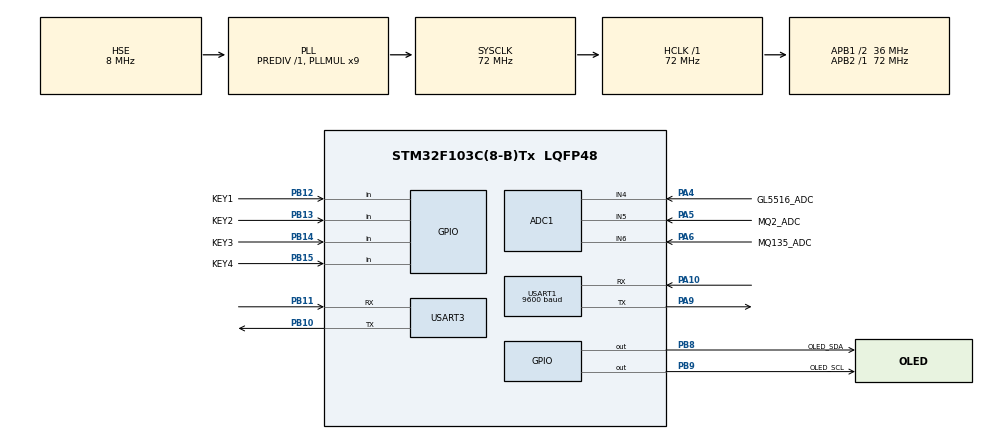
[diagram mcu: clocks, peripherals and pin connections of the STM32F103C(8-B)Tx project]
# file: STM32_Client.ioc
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ADC1.Channel-0\#ChannelRegularConversion=ADC_CHANNEL_4
ADC1.Rank-0\#ChannelRegularConversion=1
ADC1.SamplingTime-0\#ChannelRegularConversion=ADC_SAMPLETIME_1CYCLE_5
ADC1.master=1
Dma.Request0=USART3_TX
Dma.Request1=USART1_TX
Dma.USART1_TX.1.Direction=DMA_MEMORY_TO_PERIPH
Dma.USART1_TX.1.Instance=DMA1_Channel4
Dma.USART1_TX.1.MemDataAlignment=DMA_MDATAALIGN_BYTE
Dma.USART1_TX.1.MemInc=DMA_MINC_ENABLE
Dma.USART1_TX.1.Mode=DMA_NORMAL
Dma.USART1_TX.1.PeriphDataAlignment=DMA_PDATAALIGN_BYTE
Dma.USART1_TX.1.PeriphInc=DMA_PINC_DISABLE
Dma.USART1_TX.1.Priority=DMA_PRIORITY_LOW
Dma.USART3_TX.0.Direction=DMA_MEMORY_TO_PERIPH
Dma.USART3_TX.0.Instance=DMA1_Channel2
Dma.USART3_TX.0.MemDataAlignment=DMA_MDATAALIGN_BYTE
Dma.USART3_TX.0.MemInc=DMA_MINC_ENABLE
Dma.USART3_TX.0.Mode=DMA_NORMAL
Dma.USART3_TX.0.PeriphDataAlignment=DMA_PDATAALIGN_BYTE
Dma.USART3_TX.0.PeriphInc=DMA_PINC_DISABLE
Dma.USART3_TX.0.Priority=DMA_PRIORITY_LOW
Mcu.Family=STM32F1
Mcu.Name=STM32F103C(8-B)Tx
Mcu.Package=LQFP48
NVIC.DMA1_Channel2_IRQn=true\:0\:0\:false\:false\:true\:false\:true\:true
NVIC.DMA1_Channel4_IRQn=true\:0\:0\:false\:false\:true\:false\:true\:true
NVIC.PriorityGroup=NVIC_PRIORITYGROUP_4
NVIC.TIM2_IRQn=true\:0\:0\:false\:false\:true\:true\:true\:true
NVIC.TIM4_IRQn=true\:0\:0\:false\:false\:true\:true\:true\:true
NVIC.USART1_IRQn=true\:0\:0\:false\:false\:true\:true\:true\:true
NVIC.USART3_IRQn=true\:0\:0\:false\:false\:true\:true\:true\:true
PA10.Mode=Asynchronous
PA10.Signal=USART1_RX
PA13.Mode=Serial_Wire
PA13.Signal=SYS_JTMS-SWDIO
PA14.Mode=Serial_Wire
PA14.Signal=SYS_JTCK-SWCLK
PA4.GPIO_Label=GL5516_ADC
PA4.Signal=ADCx_IN4
PA5.GPIO_Label=MQ2_ADC
PA5.Signal=ADCx_IN5
PA6.GPIO_Label=MQ135_ADC
PA6.Signal=ADCx_IN6
PA9.Mode=Asynchronous
PA9.Signal=USART1_TX
PB10.Mode=Asynchronous
PB10.Signal=USART3_TX
PB11.Mode=Asynchronous
PB11.Signal=USART3_RX
PB12.GPIO_Label=KEY1
PB12.GPIO_PuPd=GPIO_PULLUP
PB12.Signal=GPIO_Input
PB13.GPIO_Label=KEY2
PB13.GPIO_PuPd=GPIO_PULLUP
PB13.Signal=GPIO_Input
PB14.GPIO_Label=KEY3
PB14.GPIO_PuPd=GPIO_PULLUP
PB14.Signal=GPIO_Input
PB15.GPIO_Label=KEY4
PB15.GPIO_PuPd=GPIO_PULLUP
PB15.Signal=GPIO_Input
PB8.GPIO_Label=OLED_SDA
PB8.GPIO_ModeDefaultOutputPP=GPIO_MODE_OUTPUT_OD
PB8.GPIO_PuPd=GPIO_NOPULL
PB8.GPIO_Speed=GPIO_SPEED_FREQ_HIGH
PB8.PinState=GPIO_PIN_SET
PB8.Signal=GPIO_Output
PB9.GPIO_Label=OLED_SCL
PB9.GPIO_ModeDefaultOutputPP=GPIO_MODE_OUTPUT_OD
PB9.GPIO_PuPd=GPIO_NOPULL
PB9.GPIO_Speed=GPIO_SPEED_FREQ_HIGH
PB9.PinState=GPIO_PIN_SET
PB9.Signal=GPIO_Output
PD0-OSC_IN.Mode=HSE-External-Oscillator
PD0-OSC_IN.Signal=RCC_OSC_IN
PD1-OSC_OUT.Mode=HSE-External-Oscillator
PD1-OSC_OUT.Signal=RCC_OSC_OUT
ProjectManager.HeapSize=0x200
ProjectManager.StackSize=0x400
ProjectManager.TargetToolchain=MDK-ARM V5
RCC.ADCPresc=RCC_ADCPCLK2_DIV6
RCC.AHBFreq_Value=72000000
RCC.APB1CLKDivider=RCC_HCLK_DIV2
RCC.APB1Freq_Value=36000000
RCC.APB1TimFreq_Value=72000000
RCC.APB2Freq_Value=72000000
RCC.APB2TimFreq_Value=72000000
RCC.HCLKFreq_Value=72000000
RCC.PLLMUL=RCC_PLL_MUL9
RCC.PLLSourceVirtual=RCC_PLLSOURCE_HSE
RCC.SYSCLKFreq_VALUE=72000000
RCC.SYSCLKSource=RCC_SYSCLKSOURCE_PLLCLK
RCC.USBFreq_Value=72000000
SH.ADCx_IN4.0=ADC1_IN4,IN4
SH.ADCx_IN5.0=ADC1_IN5,IN5
SH.ADCx_IN6.0=ADC1_IN6,IN6
TIM2.Period=10000-1
TIM2.Prescaler=7200-1
TIM2.TIM_MasterOutputTrigger=TIM_TRGO_UPDATE
TIM4.Period=50-1
TIM4.Prescaler=275
USART1.BaudRate=9600
USART1.VirtualMode=VM_ASYNC
USART3.VirtualMode=VM_ASYNC
VP_TIM2_VS_ClockSourceINT.Mode=Internal
VP_TIM4_VS_ClockSourceINT.Mode=Internal
board=custom

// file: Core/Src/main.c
/* USER CODE BEGIN Header */
/**
  ******************************************************************************
  * @file           : main.c
  * @brief          : Main program body
  ******************************************************************************
  * @attention
  *
  * Copyright (c) 2025 STMicroelectronics.
  * All rights reserved.
  *
  * This software is licensed under terms that can be found in the LICENSE file
  * in the root directory of this software component.
  * If no LICENSE file comes with this software, it is provided AS-IS.
  *
  ******************************************************************************
  */
/* USER CODE END Header */
#include "main.h"
#include "adc.h"
#include "dma.h"
#include "tim.h"
#include "usart.h"
#include "gpio.h"

/* USER CODE BEGIN Includes */
#include "stdio.h"
#include "OLED_NEW.H"
#include "key.h"
#include "string.h"
#include "key.h"
MODBUS modbus;
/* USER CODE END Includes */

/* USER CODE BEGIN PTD */
uint16_t Temp;       //温度   数值
uint16_t Hum;        //湿度
uint16_t gz_value;        //光强
uint16_t MQ2_value;       //烟雾
uint16_t MQ135_value;     //空气质量
uint8_t oled_buff[20];     //OLED缓冲区
uint8_t page=0;          //页面
uint8_t Tx_Buf[1024];     //发送
uint8_t RS485_data[8]={0x01,0x04,0x00,0x00,0x00,0x02,0x71,0xCB};   //采集485
uint16_t time2=0;        //定时器2计数
uint16_t ID=0;           //设备ID

const char* func1="Temp";     //数据的名称
const char* func2="Hum";
const char* func3="gz_value";
const char* func4="MQ2_value";
const char* func5="MQ135_value";
const char* func6="ID";

/* USER CODE END PTD */

/* USER CODE BEGIN PD */
void Display(void);  //显示
void send_buff(void);  //数据发送
void adc(void);  //采集ADC
/* USER CODE END PD */

void SystemClock_Config(void);
/* USER CODE BEGIN PFP */
// Modbus事件处理函数
void Modbus_Event(void);

/* USER CODE END PFP */

/* USER CODE BEGIN 0 */
// Modbus初始化函数
void Modbus_Init(void)
{
 modbus.myadd = 0x01;  // 0x01 从机设备地址为1
 modbus.timrun = 0;     //modbus定时器停止计算
 modbus.reflag = 0;    //无数据包处理
 modbus.recount = 0;   //接收到的字节数
 modbus.timout = 0;    //超时时间 单位：ms
}
/* USER CODE END 0 */

int main(void)
{
  /* USER CODE BEGIN 1 */
uint8_t key=0;      //按键值
  /* USER CODE END 1 */

  /* MCU Configuration--------------------------------------------------------*/

  /* Reset of all peripherals, Initializes the Flash interface and the Systick. */
  HAL_Init();

  /* Configure the system clock */
  SystemClock_Config();

  /* USER CODE BEGIN SysInit */
 Modbus_Init();
  /* USER CODE END SysInit */

  /* Initialize all configured peripherals */
  MX_GPIO_Init();
  MX_DMA_Init();
  MX_ADC1_Init();
  MX_USART1_UART_Init();
  MX_TIM4_Init();
  MX_USART3_UART_Init();
  MX_TIM2_Init();
  /* USER CODE BEGIN 2 */
  HAL_TIM_Base_Start_IT(&htim2);   //定时器使能
  HAL_TIM_Base_Start_IT(&htim4);   //使能定时器4   接收数据
  OLED_Init();		 //OLED初始化
  OLED_Clear();		 //OLED清屏
  /* USER CODE END 2 */

  /* Infinite loop */
  /* USER CODE BEGIN WHILE */
  while (1)
  {
	  Display();  //显示

	  	key=KEY_Scan(0);   //0短按   1长按
	  	if(key==4)
		{
	    	page=~page;      //页面
			OLED_Clear();		 //OLED清屏
		}

       if(time2>=2)       //定时器2计数 2秒
	   {
		  HAL_UART_Transmit_DMA(&huart1, RS485_data, sizeof(RS485_data));  //采集RS485  温湿度
		  adc();   //采集ADC
		  send_buff();  //数据发送
	      time2=0;
	   }

    /* USER CODE END WHILE */

  }
}

void SystemClock_Config(void)
{
  RCC_OscInitTypeDef RCC_OscInitStruct = {0};
  RCC_ClkInitTypeDef RCC_ClkInitStruct = {0};
  RCC_PeriphCLKInitTypeDef PeriphClkInit = {0};

  /** Initializes the RCC Oscillators according to the specified parameters
  * in the RCC_OscInitTypeDef structure.
  */
  RCC_OscInitStruct.OscillatorType = RCC_OSCILLATORTYPE_HSE;
  RCC_OscInitStruct.HSEState = RCC_HSE_ON;
  RCC_OscInitStruct.HSEPredivValue = RCC_HSE_PREDIV_DIV1;
  RCC_OscInitStruct.HSIState = RCC_HSI_ON;
  RCC_OscInitStruct.PLL.PLLState = RCC_PLL_ON;
  RCC_OscInitStruct.PLL.PLLSource = RCC_PLLSOURCE_HSE;
  RCC_OscInitStruct.PLL.PLLMUL = RCC_PLL_MUL9;
  if (HAL_RCC_OscConfig(&RCC_OscInitStruct) != HAL_OK)
  {
    Error_Handler();
  }

  /** Initializes the CPU, AHB and APB buses clocks
  */
  RCC_ClkInitStruct.ClockType = RCC_CLOCKTYPE_HCLK|RCC_CLOCKTYPE_SYSCLK
                              |RCC_CLOCKTYPE_PCLK1|RCC_CLOCKTYPE_PCLK2;
  RCC_ClkInitStruct.SYSCLKSource = RCC_SYSCLKSOURCE_PLLCLK;
  RCC_ClkInitStruct.AHBCLKDivider = RCC_SYSCLK_DIV1;
  RCC_ClkInitStruct.APB1CLKDivider = RCC_HCLK_DIV2;
  RCC_ClkInitStruct.APB2CLKDivider = RCC_HCLK_DIV1;

  if (HAL_RCC_ClockConfig(&RCC_ClkInitStruct, FLASH_LATENCY_2) != HAL_OK)
  {
    Error_Handler();
  }
  PeriphClkInit.PeriphClockSelection = RCC_PERIPHCLK_ADC;
  PeriphClkInit.AdcClockSelection = RCC_ADCPCLK2_DIV6;
  if (HAL_RCCEx_PeriphCLKConfig(&PeriphClkInit) != HAL_OK)
  {
    Error_Handler();
  }
}

/* USER CODE BEGIN 4 */
uint16_t ADC_Read(uint32_t Channel)
{
	ADC_ChannelConfTypeDef sConfig = {0};
	sConfig.Channel = Channel;                                         /* ?? */
	sConfig.Rank = ADC_REGULAR_RANK_1;
	sConfig.SamplingTime = ADC_SAMPLETIME_55CYCLES_5;                  /* ???? */
	if (HAL_ADC_ConfigChannel(&hadc1, &sConfig) != HAL_OK)
	{
		Error_Handler();
	}
	HAL_ADC_Start(&hadc1);
	HAL_ADC_PollForConversion(&hadc1, HAL_MAX_DELAY);
	return (uint16_t)HAL_ADC_GetValue(&hadc1);
}
void adc(void)  //采集ADC
{
   gz_value=4096-ADC_Read(ADC_CHANNEL_4);        //采集光强
   MQ2_value=ADC_Read(ADC_CHANNEL_5);        //采集烟雾
   MQ135_value=ADC_Read(ADC_CHANNEL_6);      //采集空气质量
}

void Display(void)  //显示
{
	Oled_ShowCHinese(28,0,(uint8_t *)"终端");

		sprintf ((char *)oled_buff,"ID:%d",ID);       //设备ID
	Oled_ShowString(75,0,oled_buff);      //

	Oled_ShowCHinese(0,2,(uint8_t *)"温度");
	sprintf ((char *)oled_buff,": %d C ",Temp);
	Oled_ShowString(32,2,oled_buff);      //

	if(page==0)
	{
		Oled_ShowCHinese(0,4,(uint8_t *)"湿度");
		sprintf ((char *)oled_buff,": %d %% ",Hum);
		Oled_ShowString(32,4,oled_buff);      //

		Oled_ShowCHinese(0,6,(uint8_t *)"烟雾");
		sprintf ((char *)oled_buff,":%4dppm",MQ2_value);
		Oled_ShowString(32,6,oled_buff);      //烟雾

	}
	else
	{
		Oled_ShowCHinese(0,4,(uint8_t *)"光照强度");
		sprintf ((char *)oled_buff,"%4dppm",gz_value);
		Oled_ShowString(66,4,oled_buff);      //光强

		Oled_ShowCHinese(0,6,(uint8_t *)"空气质量");
		sprintf ((char *)oled_buff,"%4dppm",MQ135_value);
		Oled_ShowString(66,6,oled_buff);      //空气质量
	}
}

void send_buff(void)  //数据发送
{
   static uint8_t send_key=0;
   if(ID!=0)	//ID不为0  发生数据
   {
	   if(send_key==0)
	   {
		  sprintf((char*)&Tx_Buf[0],"Zigbee:{\"%s\":%d,\"%s\":%d,\"%s\":%d,\"%s\":%d}\r\n",
		  func1,Temp,func2,Hum,func3,gz_value,func4,MQ2_value);
		  HAL_UART_Transmit_DMA(&huart3, &Tx_Buf[0],strlen((char*)Tx_Buf));   //发送
		  send_key=1;
       }
	   else
	   {
		  send_key=0;
		  sprintf((char*)&Tx_Buf[0],"Zigbee:{\"%s\":%d,\"%s\":%d}\r\n",func5,MQ135_value,func6,ID);
		  HAL_UART_Transmit_DMA(&huart3, &Tx_Buf[0],strlen((char*)Tx_Buf));   //发送
	   }
    }
   else
   {
	  sprintf((char*)&Tx_Buf[0],"ID:\r\n");    //获取ID
	  HAL_UART_Transmit_DMA(&huart3, &Tx_Buf[0],strlen((char*)Tx_Buf));   //发送
  }
}
void HAL_TIM_PeriodElapsedCallback(TIM_HandleTypeDef *htim)
{
 if(htim->Instance==TIM2)
 {
    time2++;       //定时器2计数
 }
 if(htim->Instance==TIM4)
 {
	if(modbus.timrun != 0)//运行时间！=0表明
	 {
		modbus.timout++;
		if(modbus.timout >=35)  //大于1750us
		{
		  modbus.timrun = 0;
		  modbus.reflag = 1;     //接收数据完毕
		  modbus.timout = 0;     //超时时间 单位：ms
		  Modbus_Event();        //本机作为从机使用时
		}
	 }

 }
}

//事件处理函数
void Modbus_Event(void)
{
	if(modbus.rcbuf[1]==1&&modbus.rcbuf[2]==4&&modbus.rcbuf[3]==4)
	{
      Temp=(modbus.rcbuf[4]*256+modbus.rcbuf[5])*0.1; //对寄存器一次写入   //温度
      Hum=(modbus.rcbuf[6]*256+modbus.rcbuf[7])*0.1; //对寄存器一次写入    //湿度
	}

   modbus.recount = 0;//接收计数清零
   modbus.reflag = 0; //接收标志清零
}

//int mCRC16(uint8_t *data, uint16_t len) // CRC校验
//{
//    uint8_t i    = 0;
//    uint16_t crc = UINT16_MAX;

//    while (len--)
//        for (crc ^= *(data++), i = 0; i < 8; i++) crc = (crc & 0x0001) ? (crc >> 1) ^ 0xA001 : crc >> 1;
//    return crc;
//}

/* USER CODE END 4 */

void Error_Handler(void)
{
  __disable_irq();
  while (1)
  {
  }
}
